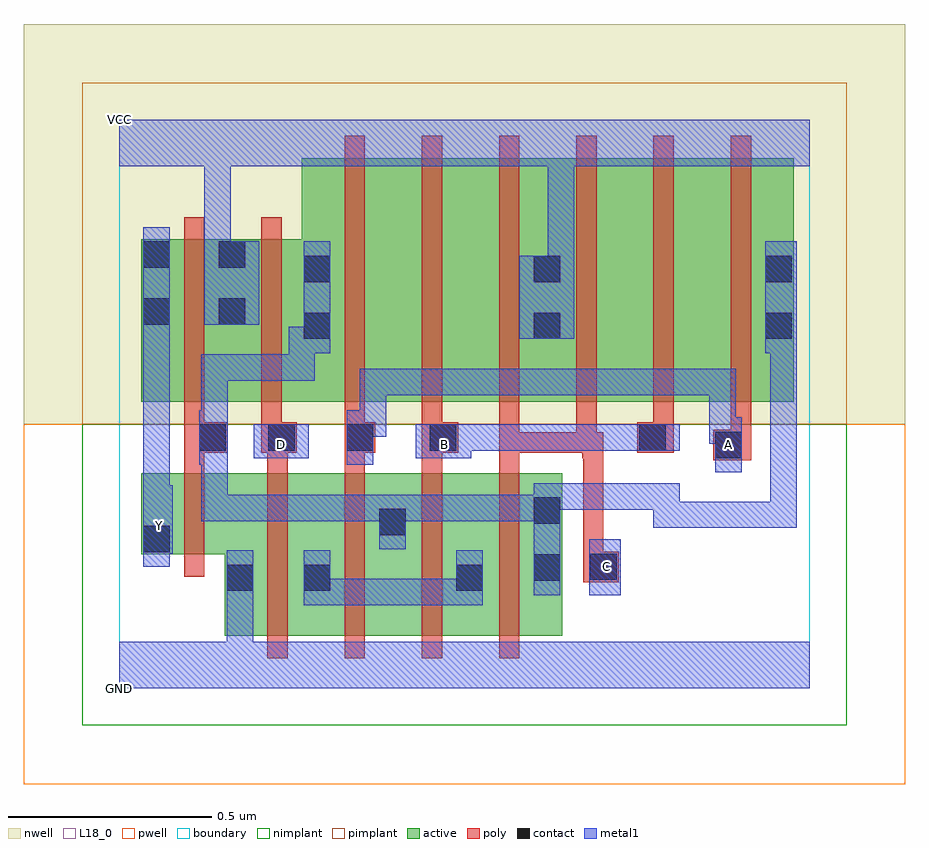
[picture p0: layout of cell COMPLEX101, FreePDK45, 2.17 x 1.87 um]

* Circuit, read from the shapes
.subckt COMPLEX101 A B C D GND VCC Y
M1 GND n1 Y VSUBS nfet w=0.2u l=0.05u
M2 n2 D GND VSUBS nfet w=0.4u l=0.05u
M3 n1 A n2 VSUBS nfet w=0.4u l=0.05u
M4 n2 B n1 VSUBS nfet w=0.4u l=0.05u
M5 n1 C n2 VSUBS nfet w=0.4u l=0.05u
M6 VCC n1 Y n3 pfet w=0.4u l=0.05u
M7 n1 D VCC n3 pfet w=0.4u l=0.05u
M8 n4 A n1 n3 pfet w=0.6u l=0.05u
M9 n5 B n4 n3 pfet w=0.6u l=0.05u
M10 VCC C n5 n3 pfet w=0.6u l=0.05u
M11 n6 C VCC n3 pfet w=0.6u l=0.05u
M12 n7 B n6 n3 pfet w=0.6u l=0.05u
M13 n1 A n7 n3 pfet w=0.6u l=0.05u
.ends

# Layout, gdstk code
import gdstk
lib = gdstk.Library(unit=1e-6, precision=1e-09)
def R(c, l, rs):  # rectangles x0, y0, x1, y1
    for r in rs: c.add(gdstk.rectangle(r[:2], r[2:], *l))
def A(c, l, x, y, w, h, nx, ny, dx, dy):  # array of equal rectangles
    R(c, l, [(x+i*dx, y+j*dy, x+i*dx+w, y+j*dy+h) for i in range(nx) for j in range(ny)])
active = (1, 0)
pwell = (2, 0)
nwell = (3, 0)
nimplant = (4, 0)
pimplant = (5, 0)
poly = (9, 0)
contact = (10, 0)
metal1 = (11, 0)
L18_0 = (18, 0)
boundary = (235, 0)

complex101 = lib.new_cell('COMPLEX101')
R(complex101, active, [(0.26,0.13,0.525,0.53), (0.26,0.13,0.335,0.397), (0.45,0.13,0.71,0.53), (0.635,0.13,0.9,0.53), (0.825,0.13,1.09,0.53), (0.45,0.195,0.525,0.492), (0.635,0.195,0.71,0.492), (0.825,0.195,0.9,0.492), (1.015,0.195,1.09,0.53), (0.055,0.33,0.335,0.53), (0.055,0.33,0.13,0.53), (0.055,0.705,0.315,1.105), (0.055,0.705,0.13,1.105), (0.24,0.705,0.525,1.105), (0.45,0.705,0.525,1.2), (0.45,0.705,0.675,1.305), (0.675,0.705,0.865,1.305), (0.865,0.705,1.09,1.305), (1.015,0.705,1.245,1.305), (1.245,0.705,1.435,1.305), (1.435,0.705,1.66,1.305), (1.585,0.705,1.66,1.2), (1.015,0.707,1.09,1.305), (0.24,0.802,0.315,1.105)])
R(complex101, pwell, [(-0.235,-0.235,1.935,0.65)])
R(complex101, nwell, [(-0.235,0.65,1.935,1.635)])
R(complex101, nimplant, [(-0.09,-0.09,1.79,0.65)])
R(complex101, pimplant, [(-0.09,0.65,1.79,1.49)])
A(complex101, poly, 0.365, 0.075, 0.05, 0.51, 4, 1, 0.19, 0)
A(complex101, poly, 0.365, 0.535, 0.05, 0.095, 4, 1, 0.19, 0)
A(complex101, poly, 0.555, 0.65, 0.05, 0.71, 6, 1, 0.19, 0)
R(complex101, poly, [(1.142,0.262,1.23,0.337), (0.16,0.275,0.21,0.585), (1.142,0.287,1.192,0.617), (0.16,0.535,0.21,0.63), (1.462,0.562,1.555,0.637), (1.14,0.567,1.192,0.63), (0.16,0.58,0.267,0.655), (0.35,0.58,0.437,0.655), (0.555,0.58,0.63,0.655), (0.745,0.58,0.835,0.655), (0.935,0.58,0.985,0.7), (0.935,0.58,0.985,0.63), (0.935,0.58,0.985,0.63), (0.935,0.58,0.985,0.63), (0.935,0.58,1.175,0.63), (1.125,0.58,1.175,0.7), (1.125,0.58,1.19,0.63), (1.14,0.58,1.19,0.63), (1.275,0.58,1.365,0.655), (1.505,0.587,1.555,0.7), (0.16,0.605,0.21,0.7), (0.35,0.605,0.4,0.7), (0.555,0.605,0.605,0.7), (0.745,0.605,0.795,0.7), (1.315,0.605,1.365,0.7), (0.16,0.65,0.21,1.16), (0.35,0.65,0.4,1.16)])
R(complex101, contact, [(0.265,0.24,0.33,0.305), (0.455,0.24,0.52,0.305), (0.83,0.24,0.895,0.305), (1.02,0.265,1.085,0.33), (1.16,0.267,1.225,0.332), (0.06,0.335,0.125,0.4), (0.64,0.377,0.705,0.442), (1.02,0.405,1.085,0.47), (1.467,0.567,1.532,0.632), (0.197,0.585,0.262,0.65), (0.367,0.585,0.432,0.65), (0.56,0.585,0.625,0.65), (0.765,0.585,0.83,0.65), (1.28,0.585,1.345,0.65), (0.455,0.86,0.52,0.925), (1.02,0.86,1.085,0.925), (1.59,0.86,1.655,0.925), (0.06,0.895,0.125,0.96), (0.245,0.895,0.31,0.96), (0.455,1,0.52,1.065), (1.02,1,1.085,1.065), (1.59,1,1.655,1.065), (0.06,1.035,0.125,1.1), (0.245,1.035,0.31,1.1)])
R(complex101, metal1, [(0,0,1.7,0.115), (0.265,0.05,0.33,0.27), (0.265,0.205,0.33,0.34), (0.455,0.205,0.52,0.34), (0.455,0.205,0.657,0.27), (0.592,0.205,0.657,0.27), (0.592,0.205,0.657,0.27), (0.592,0.205,0.657,0.27), (0.592,0.205,0.895,0.27), (0.83,0.205,0.895,0.27), (0.83,0.205,0.895,0.27), (0.83,0.205,0.895,0.34), (1.02,0.23,1.085,0.505), (1.157,0.23,1.235,0.367), (0.06,0.3,0.125,0.435), (0.06,0.332,0.132,0.5), (0.64,0.342,0.705,0.477), (0.06,0.37,0.125,0.435), (1.315,0.395,1.517,0.46), (1.315,0.395,1.38,0.505), (1.452,0.395,1.517,0.46), (1.452,0.395,1.667,0.46), (1.602,0.395,1.667,0.89), (1.602,0.395,1.667,0.46), (1.602,0.395,1.667,0.46), (1.602,0.395,1.667,0.46), (1.602,0.395,1.667,0.46), (1.602,0.395,1.667,0.46), (0.202,0.412,0.267,0.477), (0.202,0.412,0.487,0.477), (0.202,0.412,0.267,0.615), (0.422,0.412,0.487,0.477), (0.422,0.412,0.487,0.477), (0.422,0.412,0.487,0.477), (0.422,0.412,0.625,0.477), (0.56,0.412,0.625,0.477), (0.56,0.412,0.705,0.477), (0.64,0.412,0.842,0.477), (0.777,0.412,0.842,0.477), (0.777,0.412,0.842,0.477), (0.777,0.412,0.842,0.477), (0.777,0.412,1.035,0.477), (0.97,0.412,1.035,0.477), (0.97,0.412,1.085,0.477), (0.06,0.435,0.125,0.925), (1.02,0.44,1.172,0.505), (1.107,0.44,1.172,0.505), (1.107,0.44,1.38,0.505), (1.315,0.44,1.38,0.505), (1.315,0.44,1.38,0.505), (1.467,0.532,1.532,0.667), (0.197,0.55,0.262,0.685), (0.197,0.55,0.267,0.615), (0.202,0.55,0.267,0.615), (0.202,0.55,0.267,0.822), (0.56,0.55,0.625,0.685), (0.332,0.567,0.467,0.65), (0.73,0.567,0.867,0.65), (0.802,0.585,0.867,0.65), (0.802,0.585,0.867,0.65), (0.802,0.585,1.035,0.65), (0.97,0.585,1.035,0.65), (0.97,0.585,1.172,0.65), (1.107,0.585,1.172,0.65), (1.107,0.585,1.172,0.65), (1.107,0.585,1.172,0.65), (1.107,0.585,1.31,0.65), (1.245,0.585,1.31,0.65), (1.245,0.585,1.31,0.65), (1.245,0.585,1.38,0.65), (1.452,0.602,1.517,0.667), (1.452,0.602,1.532,0.667), (1.452,0.602,1.517,0.787), (0.56,0.62,0.657,0.685), (0.592,0.62,0.657,0.685), (0.592,0.62,0.657,0.787), (0.592,0.722,0.657,0.787), (0.592,0.722,0.897,0.787), (0.832,0.722,0.897,0.787), (0.832,0.722,0.897,0.787), (0.832,0.722,0.897,0.787), (0.832,0.722,1.035,0.787), (0.97,0.722,1.035,0.787), (0.97,0.722,1.035,0.787), (0.97,0.722,1.035,0.787), (0.97,0.722,1.172,0.787), (1.107,0.722,1.172,0.787), (1.107,0.722,1.38,0.787), (1.315,0.722,1.38,0.787), (1.315,0.722,1.38,0.787), (1.315,0.722,1.38,0.787), (1.315,0.722,1.517,0.787), (1.452,0.722,1.517,0.787), (0.202,0.757,0.267,0.822), (0.202,0.757,0.482,0.822), (0.417,0.757,0.482,0.89), (0.417,0.825,0.52,0.89), (0.455,0.825,0.52,1.1), (1.59,0.825,1.667,1.1), (0.06,0.86,0.125,1.135), (0.985,0.86,1.12,1.065), (0.21,0.895,0.345,1.1), (1.055,1,1.12,1.35), (0.21,1.035,0.275,1.1), (0.21,1.035,0.275,1.1), (0.21,1.035,0.275,1.35), (0,1.285,1.7,1.4)])
R(complex101, L18_0, [(0,0,1.7,0.115), (0.265,0.05,0.33,0.27), (0.265,0.205,0.33,0.34), (1.157,0.23,1.235,0.367), (1.167,0.267,1.232,0.332), (0.06,0.3,0.125,0.435), (0.06,0.332,0.132,0.5), (0.067,0.367,0.132,0.432), (0.06,0.37,0.125,0.435), (0.06,0.435,0.125,0.925), (1.467,0.532,1.532,0.667), (0.56,0.55,0.625,0.685), (0.332,0.567,0.467,0.65), (0.367,0.567,0.432,0.632), (0.73,0.567,0.867,0.65), (0.767,0.567,0.832,0.632), (1.467,0.567,1.532,0.632), (0.802,0.585,0.867,0.65), (0.802,0.585,0.867,0.65), (0.802,0.585,1.035,0.65), (0.97,0.585,1.035,0.65), (0.97,0.585,1.172,0.65), (1.107,0.585,1.172,0.65), (1.107,0.585,1.172,0.65), (1.107,0.585,1.172,0.65), (1.107,0.585,1.31,0.65), (1.245,0.585,1.31,0.65), (1.245,0.585,1.31,0.65), (1.245,0.585,1.38,0.65), (1.452,0.602,1.517,0.667), (1.452,0.602,1.517,0.787), (1.452,0.602,1.532,0.667), (0.56,0.62,0.657,0.685), (0.592,0.62,0.657,0.685), (0.592,0.62,0.657,0.787), (0.592,0.722,0.657,0.787), (0.592,0.722,0.897,0.787), (0.832,0.722,0.897,0.787), (0.832,0.722,0.897,0.787), (0.832,0.722,0.897,0.787), (0.832,0.722,1.035,0.787), (0.97,0.722,1.035,0.787), (0.97,0.722,1.035,0.787), (0.97,0.722,1.035,0.787), (0.97,0.722,1.172,0.787), (1.107,0.722,1.172,0.787), (1.107,0.722,1.38,0.787), (1.315,0.722,1.38,0.787), (1.315,0.722,1.38,0.787), (1.315,0.722,1.38,0.787), (1.315,0.722,1.517,0.787), (1.452,0.722,1.517,0.787), (0.06,0.86,0.125,1.135), (0.985,0.86,1.12,1.065), (0.21,0.895,0.345,1.1), (1.055,1,1.12,1.35), (0.21,1.035,0.275,1.1), (0.21,1.035,0.275,1.1), (0.21,1.035,0.275,1.35), (0,1.285,1.7,1.4)])
R(complex101, boundary, [(0,0,1.7,1.4)])
complex101.add(gdstk.Label('A', (1.5,0.6), layer=11, texttype=0))
complex101.add(gdstk.Label('B', (0.8,0.6), layer=11, texttype=0))
complex101.add(gdstk.Label('C', (1.2,0.3), layer=11, texttype=0))
complex101.add(gdstk.Label('D', (0.4,0.6), layer=11, texttype=0))
complex101.add(gdstk.Label('Y', (0.1,0.4), layer=11, texttype=0))
complex101.add(gdstk.Label('VCC', (0,1.4), layer=11, texttype=0))
complex101.add(gdstk.Label('GND', (0,0), layer=11, texttype=0))

lib.write_gds('COMPLEX101.gds')
